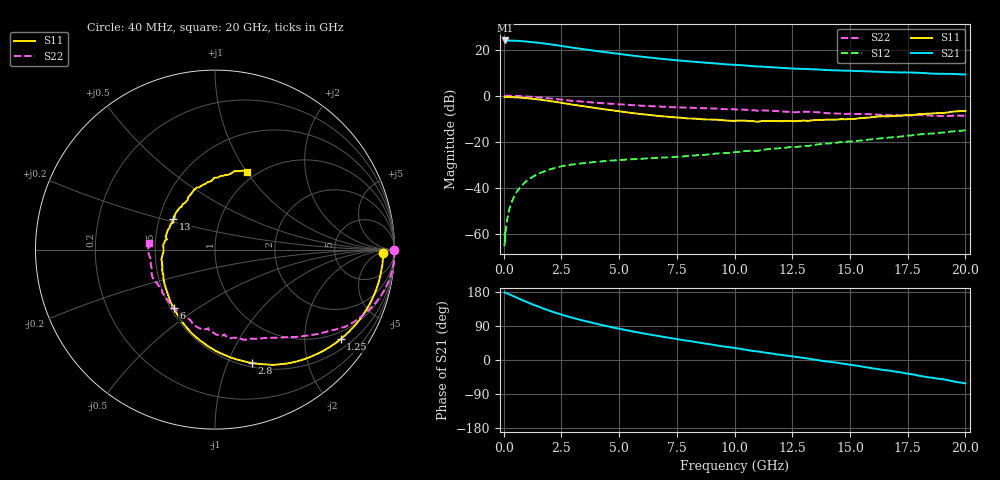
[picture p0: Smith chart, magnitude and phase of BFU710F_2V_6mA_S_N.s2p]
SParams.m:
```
% --- Load and extract S-parameters ---
filename = 'Spar_BFU710F/BFU710F_2V_6mA_S_N.s2p';
sparams = sparameters(filename);
freq = sparams.Frequencies;
s11 = rfparam(sparams, 1, 1);
s22 = rfparam(sparams, 2, 2);

% --- Reference impedance ---
Z0 = sparams.Impedance;  % Usually 50 Ohms

% --- Extract frequency and S-parameters ---
freq = sparams.Frequencies;        % In Hz
s11 = rfparam(sparams, 1, 1);
s22 = rfparam(sparams, 2, 2);

% --- Calculate impedance ---
zin = Z0 * (1 + s11) ./ (1 - s11);
zout = Z0 * (1 + s22) ./ (1 - s22);

% --- Find the index closest to 10 GHz ---
target_freq = 10e9;  % 10 GHz in Hz
[~, idx] = min(abs(freq - target_freq));

% --- Output results ---
fprintf('--- Impedance at %.2f GHz ---\n', freq(idx)/1e9);
fprintf('Zin  = %.2f + j%.2f Ohms\n', real(zin(idx)), imag(zin(idx)));
fprintf('Zout = %.2f + j%.2f Ohms\n', real(zout(idx)), imag(zout(idx)));

gamma_zin = (zin - Z0) ./ (zin + Z0);

% Plot on Smith chart
figure;
smithplot(gamma_zin);
title('Smith Chart of Input Impedance (Z_{in})');

plot(freq/1e9, real(zin), 'b', freq/1e9, imag(zin), 'r');
xlabel('Frequency (GHz)');
ylabel('Impedance (Ohms)');
legend('Real(Zin)', 'Imag(Zin)');
grid on;
```
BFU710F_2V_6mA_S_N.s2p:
! Filename:  P:\Prog\Test\Noise\ATS_data\Testdata_Net\BFU710\BFU710_2W_A1_2V6mA_D.s2p
! Date/Time: Fri 29/Apr/2011 13:26:59
! BFU710_2W_A1_2V6mA
! bias mode 1: Vout= 2.0000 V, Iout= 6.0300 mA, Vin= 0.8248 V, Iin= 0.0214 mA
! Date/time Wed Mar 16 10:31:57 2011
! Device data file deembeded for feedlines and parallel
! Original file: \BFU710\BFU710_2W_A1_2V6mA_R.s2p
! Feed-files: PR003V01_101208_Feed1.s2p, PR003V01_101208_Feed2.s2p
! Parallel-file: PR003V01_101208_Par.s2p
# MHz S MA R 50
!  Freq-MHz  S11-mag  S11-arg  S21-mag  S21-arg  S12-mag  S12-arg  S22-mag  S22-arg
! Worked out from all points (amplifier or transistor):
!   167 points, 40 MHz to 20 GHz, reference 50 ohm
!   highest |S21| = 23.9 dB at 50 MHz (marker M1)
!   |S21| within 3 dB of that: start of sweep to 2.896 GHz
!   unconditionally stable (mu >= 1): 6.26 GHz to 16.38 GHz; 16.46 GHz to 16.7 GHz
!   at 550 MHz: K = 0.04, MSG = 32.9 dB, |S12| = -41.9 dB
!   at 4.2 GHz: K = 0.69, MSG = 23.8 dB, |S12| = -28.5 dB
!   at 20 GHz: K = 0.80, MSG = 12.1 dB, |S12| = -15.0 dB
!   lowest NFmin = 0.83 dB at 400 MHz
!   S11 on the Smith chart (normalised r, x): 40 MHz: 28, -8; 1.25 GHz: 0.77, -2.95; 2.8 GHz: 0.54, -1.23; 6 GHz: 0.52, -0.40; 13 GHz: 0.59, +0.22; 20 GHz: 0.90, +1.00
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40  0.9369 -1.1  15.68 178.6  0.0005527 87.6  0.9982 -0.2
50  0.9319 -1.6  15.73 178.0  0.001058 63.9  0.9987 -0.5
600  0.9178 -17.4  15.48 163.4  0.008731 81.9  0.9877 -9.1
1250  0.8596 -35.5  14.46 146.8  0.01751 70.2  0.9433 -18.2
1900  0.781 -52.1  13.25 131.8  0.02438 60.7  0.8843 -26.1
2800  0.6643 -72.0  11.33 114.5  0.03156 50.1  0.7915 -34.6
4400  0.5053 -100.8  8.775 90.2  0.03857 40.3  0.6828 -45.1
6000  0.3981 -125.5  6.98 70.7  0.04319 35.3  0.6072 -53.9
10200  0.2877 177.8  4.603 29.9  0.06114 32.6  0.5015 -78.4
13000  0.2882 143.6  3.826 5.2  0.08218 27.5  0.4505 -98.3
20000  0.4681 67.7  2.881 -61.6  0.178 -9.8  0.367 174.6
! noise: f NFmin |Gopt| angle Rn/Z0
400  0.8344  0.5475  2.28  0.3225
850  0.8405  0.543  7.22  0.3214
1500  0.8517  0.535  13.91  0.3176
2150  0.8658  0.5245  20.22  0.3115
3100  0.8915  0.5042  29.06  0.2988
4300  0.9326  0.4708  40.13  0.2779
6200  1.018  0.408  58.93  0.2378
8800  1.173  0.329  89.39  0.1807
1.14e+04  1.375  0.2697  123.4  0.1379
1.4e+04  1.622  0.1891  164  0.1279
